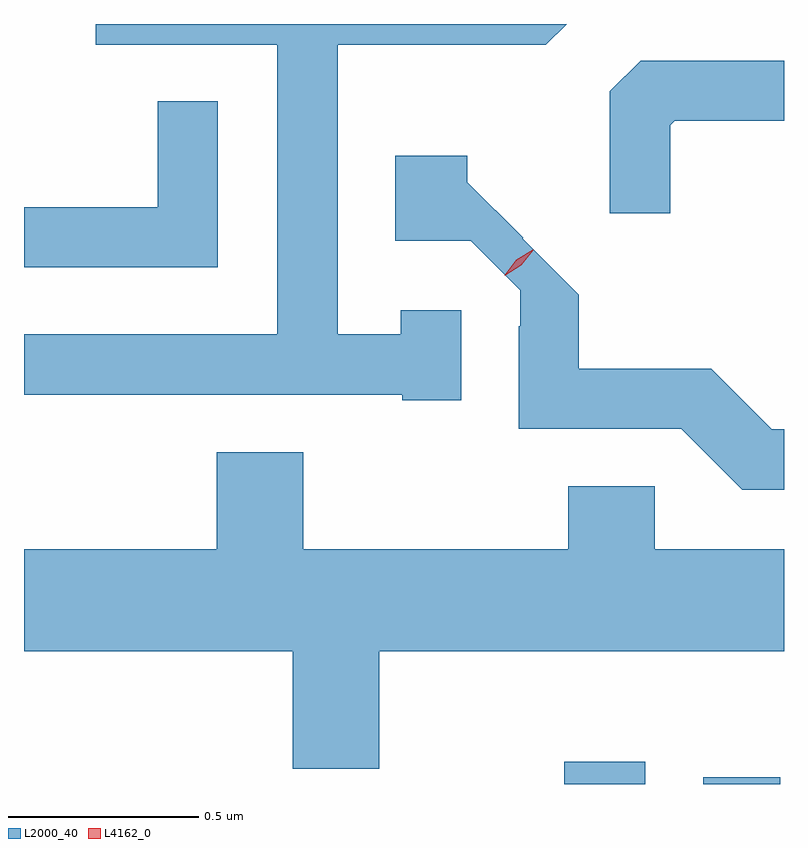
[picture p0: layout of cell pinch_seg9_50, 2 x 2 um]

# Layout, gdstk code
import gdstk
lib = gdstk.Library(unit=1e-6, precision=1e-09)
def R(c, l, rs):  # rectangles x0, y0, x1, y1
    for r in rs: c.add(gdstk.rectangle(r[:2], r[2:], *l))
def P(c, l, *ps):  # polygons
    for p in ps: c.add(gdstk.Polygon(p, *l))
L2000_40 = (2000, 40)
L4162_0 = (4162, 0)

pinch_seg9_50 = lib.new_cell('pinch_seg9_50')
R(pinch_seg9_50, L2000_40, [(639.316,2049.186,639.529,2049.244), (639.681,2049.186,639.884,2049.204)])
P(pinch_seg9_50, L2000_40, [(639.044,2050.433),(638.886,2050.433),(638.886,2050.369),(638.719,2050.369),(638.719,2051.131),(639.267,2051.131),(639.322,2051.186),(638.083,2051.186),(638.083,2051.131),(638.561,2051.131),(638.561,2050.369),(637.894,2050.369),(637.894,2050.211),(638.89,2050.211),(638.89,2050.196),(639.044,2050.196)],
  [(639.594,2050.919),(639.607,2050.931),(639.894,2050.931),(639.894,2051.089),(639.517,2051.089),(639.436,2051.009),(639.436,2050.688),(639.594,2050.688)],
  [(638.404,2050.983),(638.246,2050.983),(638.246,2050.704),(637.894,2050.704),(637.894,2050.546),(638.404,2050.546)],
  [(639.894,2050.119),(639.862,2050.119),(639.702,2050.279),(639.354,2050.279),(639.354,2050.474),(639.206,2050.621),(639.208,2050.623),(639.061,2050.77),(639.061,2050.839),(638.871,2050.839),(638.871,2050.615),(639.07,2050.615),(639.2,2050.485),(639.2,2050.39),(639.196,2050.39),(639.196,2050.121),(639.624,2050.121),(639.784,2049.961),(639.894,2049.961)],
  [(638.829,2049.536),(639.894,2049.536),(639.894,2049.804),(639.554,2049.804),(639.554,2049.969),(639.326,2049.969),(639.326,2049.804),(638.629,2049.804),(638.629,2050.059),(638.401,2050.059),(638.401,2049.804),(637.894,2049.804),(637.894,2049.536),(638.601,2049.536),(638.601,2049.226),(638.829,2049.226)])
P(pinch_seg9_50, L4162_0, [(639.159,2050.524),(639.159,2050.525),(639.19,2050.566),(639.233,2050.592),(639.234,2050.592),(639.234,2050.591),(639.203,2050.551),(639.159,2050.524)],
  [(639.162,2050.528),(639.162,2050.528),(639.19,2050.566),(639.23,2050.589),(639.23,2050.589),(639.23,2050.588),(639.203,2050.551),(639.163,2050.528)])

lib.write_gds('pinch_seg9_50.gds')
